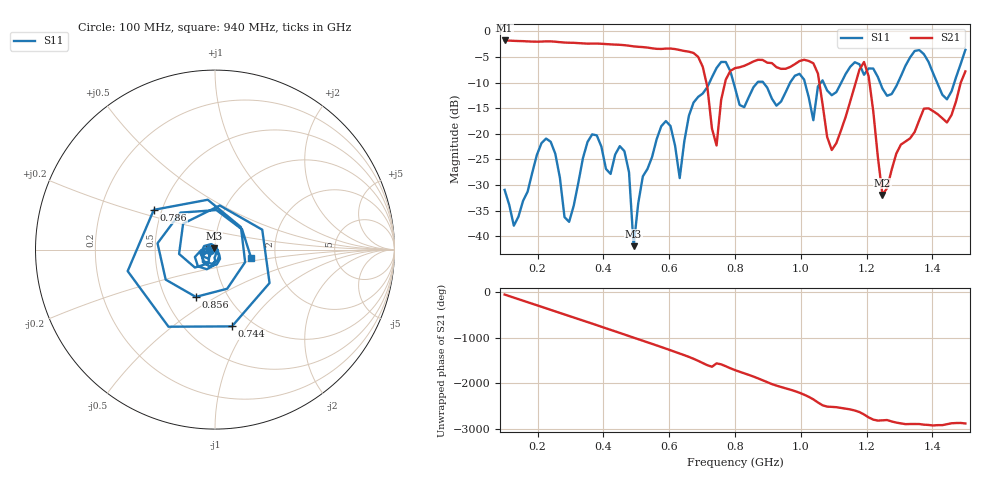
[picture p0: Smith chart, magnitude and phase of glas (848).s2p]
! NanoVNA-App
! Date: 2025-09-25 16:02:04
! Start: 100MHz Stop: 1,5GHz Points: 101
! S-Parameter data: F S11 S21 S12 S22
# Hz S RI R 50
!  Frequency  S11_Real  S11_Imag  S21_Real  S21_Imag  S12_Real  S12_Imag  S22_Real  S22_Imag
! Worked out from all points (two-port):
!   101 points, 100 MHz to 1.5 GHz, reference 50 ohm
!   highest |S21| = -1.80 dB at 100 MHz (marker M1); lowest = -31.9 dB at 1.248 GHz (marker M2)
!   |S21| within 3 dB of the highest: start of sweep to 684.4 MHz
!   lowest |S11| = -41.9 dB at 492 MHz (marker M3), VSWR 1.02, Z = 49.5 + j0.621 ohm
!   |S11| at or under -10 dB: start of sweep to 722.5 MHz; 795.5 MHz to 868.1 MHz (72.56 MHz wide, 8.72 % of centre); 885.9 MHz to 967.7 MHz (81.73 MHz wide, 8.82 % of centre) (the widest 3 of 7)
!   S12 and S22 are empty: the file has one direction only
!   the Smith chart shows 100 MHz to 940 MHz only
!   S11 on the Smith chart (normalised r, x): 100 MHz: 0.94, -0.01; 744 MHz: 0.81, -0.85; 786 MHz: 0.45, +0.24; 856 MHz: 0.71, -0.41; 940 MHz: 1.50, -0.14
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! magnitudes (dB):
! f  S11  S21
! 100 MHz  -30.9  -1.8
! 128 MHz  -37.9  -1.9
! 226 MHz  -20.9  -2.0
! 296 MHz  -37.2  -2.2
! 338 MHz  -24.7  -2.4
! 464 MHz  -23.4  -2.7
! 492 MHz  -41.9  -3.0
! 576 MHz  -18.5  -3.5
! 632 MHz  -28.6  -3.7
! 702 MHz  -12.1  -6.9
! 744 MHz  -7.2  -22.3
! 786 MHz  -7.8  -7.7
! 800 MHz  -11.0  -7.2
! 856 MHz  -10.9  -5.9
! 940 MHz  -13.7  -7.3
! 1.038 GHz  -17.3  -6.2
! 1.094 GHz  -12.5  -23.2
! 1.192 GHz  -8.5  -6.0
! 1.248 GHz  -11.2  -31.9
! 1.276 GHz  -12.2  -27.0
! 1.444 GHz  -13.3  -17.8
! 1.5 GHz  -3.6  -7.8
